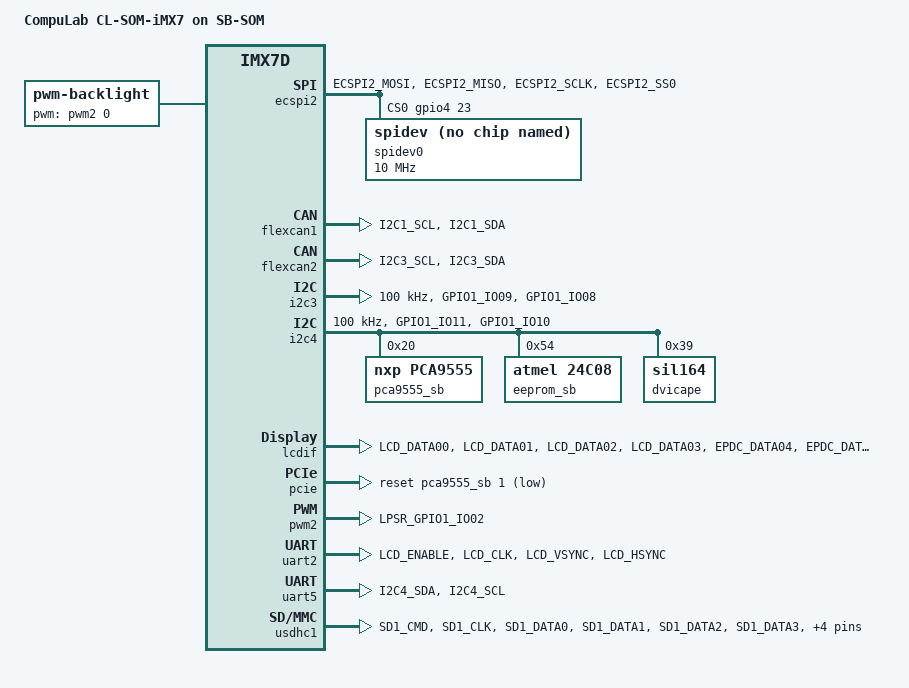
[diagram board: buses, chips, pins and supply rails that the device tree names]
/*
 * Support for CompuLab SBC-iMX7 Single Board Computer
 *
 * Copyright (C) 2015 CompuLab Ltd. - http://www.compulab.co.il/
 * Author: Ilya Ledvich <ilya@compulab.co.il>
 *
 * This file is dual-licensed: you can use it either under the terms
 * of the GPL or the X11 license, at your option. Note that this dual
 * licensing only applies to this file, and not this project as a
 * whole.
 */

#include "imx7d-cl-som-imx7.dts"

/ {
	model = "CompuLab CL-SOM-iMX7 on SB-SOM";
	compatible = "compulab,sbc-imx7", "compulab,cl-som-imx7", "fsl,imx7d";

	aliases {
		lcdif = &lcdif;
		pcie = &pcie;
	};

	backlight {
		compatible = "pwm-backlight";
		pwms = <&pwm2 0 5000000 0>;
		brightness-levels = <0 4 8 16 32 64 128 255>;
		default-brightness-level = <6>;
		status = "okay";
	};
};

&ecspi2 {
	fsl,spi-num-chipselects = <1>;
	pinctrl-names = "default";
	pinctrl-0 = <&pinctrl_ecspi2 &pinctrl_ecspi2_cs>;
	cs-gpios = <&gpio4 23 0>;
	status = "okay";

	spidev0: spi@0 {
		reg = <0>;
		compatible = "rohm,dh2228fv";
		spi-max-frequency = <10000000>;
	};
};

&flexcan1 {
	pinctrl-names = "default";
	pinctrl-0 = <&pinctrl_flexcan1>;
	status = "okay";
};

&flexcan2 {
	pinctrl-names = "default";
	pinctrl-0 = <&pinctrl_flexcan2>;
	status = "okay";
};

&i2c3 {
	clock-frequency = <100000>;
	pinctrl-names = "default";
	pinctrl-0 = <&pinctrl_i2c3>;
	status = "okay";
};

&i2c4 {
	clock-frequency = <100000>;
	pinctrl-names = "default";
	pinctrl-0 = <&pinctrl_i2c4>;
	status = "okay";

	pca9555_sb: pca9555_sb@20 {
		compatible = "nxp,pca9555";
		gpio-controller;
		#gpio-cells = <2>;
		reg = <0x20>;

		/* DVI ENABLE GPIO */
		dvi_en_3v3 {
			gpio-hog;
			gpios = <13 GPIO_ACTIVE_HIGH>;
			output-high;
			line-name = "dvi_en_3v3";
		};
		/* LCD nSTANDBY GPIO */
		lcd_nstby_3v3 {
			gpio-hog;
			gpios = <14 GPIO_ACTIVE_HIGH>;
			output-high;
			line-name = "lcd_nstby_3v3";
		};
	};

	eeprom_sb@54 {
		compatible = "atmel,24c08";
		reg = <0x54>;
		pagesize = <16>;
	};

	dvicape@39 {
		compatible = "sil164";
		reg = <0x39>;
	};
};

&lcdif {
	pinctrl-names = "default";
	pinctrl-0 = <&pinctrl_lcdif_dat
		     &pinctrl_lcdif_ctrl>;
	display = <&display0>;
	status = "okay";

	display0: display {
		bits-per-pixel = <24>;
		bus-width = <24>;

		display-timings {
			native-mode = <&timing0>;
			timing0: lcd {
				clock-frequency = <29580000>;
				hactive = <800>;
				vactive = <480>;
				hfront-porch = <16>;
				hback-porch = <1>;
				hsync-len = <80>;
				vback-porch = <13>;
				vfront-porch = <16>;
				vsync-len = <16>;

				hsync-active = <0>;
				vsync-active = <0>;
				de-active = <1>;
				pixelclk-active = <0>;
			};

			timing1: dvi {
				/* 1024x768p60 */
				clock-frequency = <65000000>;
				hactive = <1024>;
				vactive = <768>;
				hback-porch = <220>;
				hfront-porch = <40>;
				vback-porch = <21>;
				vfront-porch = <7>;
				hsync-len = <60>;
				vsync-len = <10>;

				hsync-active = <0>;
				vsync-active = <0>;
				de-active = <1>;
				pixelclk-active = <0>;
			};
		};
	};
};

&pcie {
	reset-gpio = <&pca9555_sb 1 GPIO_ACTIVE_LOW>;
	fsl,pcie-phy-refclk-internal;
	status = "okay";
};

&pwm2 {
	pinctrl-names = "default";
	pinctrl-0 = <&pinctrl_pwm2>;
	status = "okay";
};

&uart2 {
	pinctrl-names = "default";
	pinctrl-0 = <&pinctrl_uart2>;
	assigned-clocks = <&clks IMX7D_UART2_ROOT_SRC>;
	assigned-clock-parents = <&clks IMX7D_OSC_24M_CLK>;
	fsl,uart-has-rtscts;
	status = "okay";
};

&uart5 {
	pinctrl-names = "default";
	pinctrl-0 = <&pinctrl_uart5>;
	assigned-clocks = <&clks IMX7D_UART5_ROOT_SRC>;
	assigned-clock-parents = <&clks IMX7D_PLL_SYS_MAIN_240M_CLK>;
	status = "okay";
};

&usdhc1 {
	pinctrl-names = "default";
	pinctrl-0 = <&pinctrl_usdhc1>;
	cd-gpios = <&gpio5 0 GPIO_ACTIVE_LOW>;
	wp-gpios = <&gpio5 1 GPIO_ACTIVE_HIGH>;
	wakeup-source;
	status = "okay";
};

&iomuxc {
	pinctrl-names = "default";
	pinctrl-0 = <&pinctrl_gpios>;

	pinctrl_gpios: gpiosgrp {
		fsl,pins = <
			MX7D_PAD_EPDC_BDR0__GPIO2_IO28		0x54 /* P5-18 - gpio60 */
			MX7D_PAD_EPDC_BDR1__GPIO2_IO29		0x54 /* P4-20 - gpio61 */
			MX7D_PAD_EPDC_PWR_COM__GPIO2_IO30	0x54 /* P4-10 - gpio62 */
			MX7D_PAD_EPDC_PWR_STAT__GPIO2_IO31	0x54 /* P5-13 - gpio63 */
			MX7D_PAD_LCD_DATA07__GPIO3_IO12		0x54 /* P4-08 - gpio76 */
			MX7D_PAD_LCD_DATA08__GPIO3_IO13		0x54 /* P5-08 - gpio77 */
			MX7D_PAD_LCD_DATA09__GPIO3_IO14		0x54 /* P5-12 - gpio78 */
			MX7D_PAD_LCD_DATA10__GPIO3_IO15		0x54 /* P4-14 - gpio79 */
			MX7D_PAD_LCD_DATA11__GPIO3_IO16		0x54 /* P4-16 - gpio80 */
			MX7D_PAD_I2C2_SCL__GPIO4_IO10		0x54 /* P4-06 - gpio106 */
			MX7D_PAD_I2C2_SDA__GPIO4_IO11 		0x54 /* P4-18 - gpio107 */
			MX7D_PAD_SD1_RESET_B__GPIO5_IO2		0x54 /* P5-02 - gpio130 */
		>;
	};

	pinctrl_ecspi2: ecspi2grp {
		fsl,pins = <
			MX7D_PAD_ECSPI2_MOSI__ECSPI2_MOSI	0xf /* P18-10 */
			MX7D_PAD_ECSPI2_MISO__ECSPI2_MISO	0xf /* P18-11 */
			MX7D_PAD_ECSPI2_SCLK__ECSPI2_SCLK	0xf /* P18-09 */
		>;
	};

	pinctrl_ecspi2_cs: ecspi2_cs_grp {
		fsl,pins = <
			MX7D_PAD_ECSPI2_SS0__GPIO4_IO23		0x34 /* P18-12 */
		>;
	};

	pinctrl_flexcan1: flexcan1grp {
		fsl,pins = <
			MX7D_PAD_I2C1_SCL__FLEXCAN1_RX		0x59
			MX7D_PAD_I2C1_SDA__FLEXCAN1_TX		0x59
		>;
	};

	pinctrl_flexcan2: flexcan2grp {
		fsl,pins = <
			MX7D_PAD_I2C3_SCL__FLEXCAN2_RX		0x59
			MX7D_PAD_I2C3_SDA__FLEXCAN2_TX		0x59
		>;
	};

	pinctrl_i2c3: i2c3grp {
		fsl,pins = <
			MX7D_PAD_GPIO1_IO09__I2C3_SDA           0x4000000f /* P4-23 */
			MX7D_PAD_GPIO1_IO08__I2C3_SCL 		0x4000000f /* P4-21 */
		>;
	};

	pinctrl_i2c4: i2c4grp {
		fsl,pins = <
			MX7D_PAD_GPIO1_IO11__I2C4_SDA		0x4000000f
			MX7D_PAD_GPIO1_IO10__I2C4_SCL		0x4000000f
		>;
	};

	pinctrl_lcdif_dat: lcdifdatgrp {
		fsl,pins = <
			MX7D_PAD_LCD_DATA00__LCD_DATA0		0x79
			MX7D_PAD_LCD_DATA01__LCD_DATA1		0x79
			MX7D_PAD_LCD_DATA02__LCD_DATA2		0x79
			MX7D_PAD_LCD_DATA03__LCD_DATA3		0x79
			MX7D_PAD_EPDC_DATA04__LCD_DATA4		0x79
			MX7D_PAD_EPDC_DATA05__LCD_DATA5		0x79
			MX7D_PAD_EPDC_DATA06__LCD_DATA6		0x79
			MX7D_PAD_EPDC_DATA07__LCD_DATA7		0x79
			MX7D_PAD_EPDC_DATA08__LCD_DATA8		0x79
			MX7D_PAD_EPDC_DATA09__LCD_DATA9		0x79
			MX7D_PAD_EPDC_DATA10__LCD_DATA10	0x79
			MX7D_PAD_EPDC_DATA11__LCD_DATA11	0x79
			MX7D_PAD_EPDC_DATA12__LCD_DATA12	0x79
			MX7D_PAD_EPDC_DATA13__LCD_DATA13	0x79
			MX7D_PAD_EPDC_DATA14__LCD_DATA14	0x79
			MX7D_PAD_EPDC_DATA15__LCD_DATA15	0x79
			MX7D_PAD_LCD_DATA16__LCD_DATA16		0x79
			MX7D_PAD_LCD_DATA17__LCD_DATA17		0x79
			MX7D_PAD_LCD_DATA18__LCD_DATA18		0x79
			MX7D_PAD_LCD_DATA19__LCD_DATA19		0x79
			MX7D_PAD_LCD_DATA20__LCD_DATA20		0x79
			MX7D_PAD_LCD_DATA21__LCD_DATA21		0x79
			MX7D_PAD_LCD_DATA22__LCD_DATA22		0x79
			MX7D_PAD_LCD_DATA23__LCD_DATA23		0x79
		>;
	};

	pinctrl_lcdif_ctrl: lcdifctrlgrp {
		fsl,pins = <
			MX7D_PAD_EPDC_DATA00__LCD_CLK		0x79
			MX7D_PAD_EPDC_DATA01__LCD_ENABLE	0x79
			MX7D_PAD_EPDC_DATA02__LCD_VSYNC		0x79
			MX7D_PAD_EPDC_DATA03__LCD_HSYNC		0x79
		>;
	};

	pinctrl_uart2: uart2grp {
		fsl,pins = <
			MX7D_PAD_LCD_ENABLE__UART2_DCE_TX	0x79 /* P4-33 */
			MX7D_PAD_LCD_CLK__UART2_DCE_RX 		0x79 /* P4-31 */
			MX7D_PAD_LCD_VSYNC__UART2_DCE_CTS	0x79 /* P4-03 */
			MX7D_PAD_LCD_HSYNC__UART2_DCE_RTS	0x79 /* P4-01 */
		>;
	};

	pinctrl_uart5: uart5grp {
		fsl,pins = <
			MX7D_PAD_I2C4_SDA__UART5_DCE_TX		0x79 /* P5-15 */
			MX7D_PAD_I2C4_SCL__UART5_DCE_RX		0x79 /* P5-17 */
		>;
	};

	pinctrl_usdhc1: usdhc1grp {
		fsl,pins = <
			MX7D_PAD_SD1_CMD__SD1_CMD		0x59
			MX7D_PAD_SD1_CLK__SD1_CLK		0x19
			MX7D_PAD_SD1_DATA0__SD1_DATA0		0x59
			MX7D_PAD_SD1_DATA1__SD1_DATA1		0x59
			MX7D_PAD_SD1_DATA2__SD1_DATA2		0x59
			MX7D_PAD_SD1_DATA3__SD1_DATA3		0x59
			MX7D_PAD_SD1_CD_B__GPIO5_IO0		0x59 /* CD */
			MX7D_PAD_SD1_WP__GPIO5_IO1		0x59 /* WP */
		>;
	};
};

&iomuxc_lpsr {
	pinctrl_pwm2: pwm2grp {
		fsl,pins = <
			MX7D_PAD_LPSR_GPIO1_IO02__PWM2_OUT	0x110b0
		>;
	};
};
